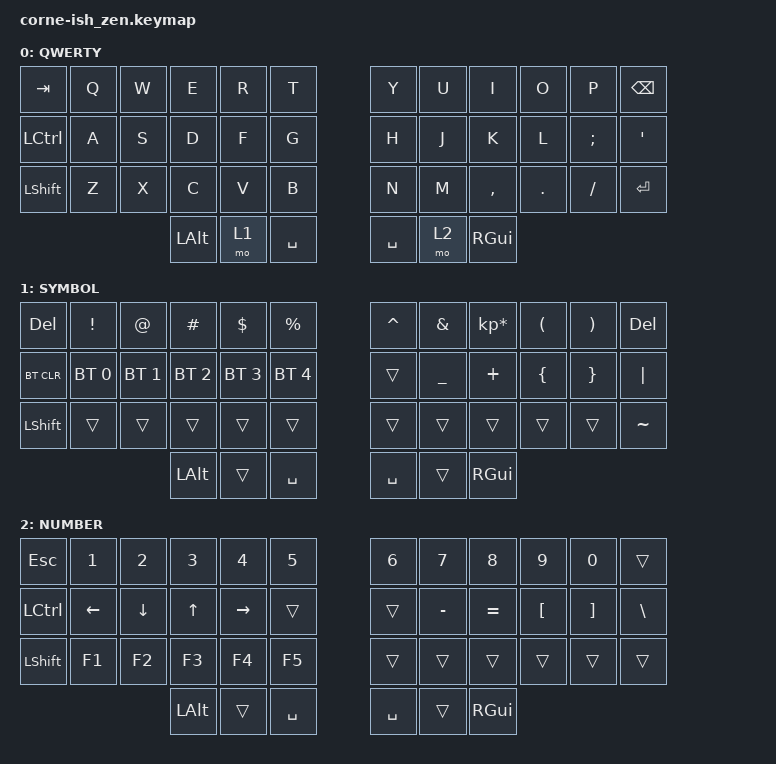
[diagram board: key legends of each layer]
/*
*
* Copyright (c) 2021 Darryl deHaan
* SPDX-License-Identifier: MIT
*
*/

#include <behaviors.dtsi>
#include <dt-bindings/zmk/keys.h>
#include <dt-bindings/zmk/bt.h>

/ {
        keymap {
                compatible = "zmk,keymap";

                default_layer {
                        label = "QWERTY";
// -----------------------------------------------------------------------------------------
// |  TAB |  Q  |  W  |  E  |  R  |  T  |   |  Y  |  U   |  I  |  O  |  P  | BKSP |
// | CTRL |  A  |  S  |  D  |  F  |  G  |   |  H  |  J   |  K  |  L  |  ;  |  '   |
// | SHFT |  Z  |  X  |  C  |  V  |  B  |   |  N  |  M   |  ,  |  .  |  /  | ESC  |
//                    | ALT | LWR | SPC |   | ENT | RSE  | GUI |
                        bindings = <
   &kp TAB   &kp Q &kp W &kp E &kp R &kp T   &kp Y &kp U  &kp I     &kp O   &kp P    &kp BSPC
   &kp LCTRL &kp A &kp S &kp D &kp F &kp G   &kp H &kp J  &kp K     &kp L   &kp SEMI &kp SQT
   &kp LSHFT &kp Z &kp X &kp C &kp V &kp B   &kp N &kp M  &kp COMMA &kp DOT &kp FSLH &kp RET
                  &kp LALT &mo 1 &kp SPACE   &kp SPACE &mo 2 &kp RGUI
                        >;
                };
                lower_layer {
                        label = "SYMBOL";
// -----------------------------------------------------------------------------------------
// | DEL  |  !  |  @  |  #  |  $  |  %  |   |  ^  |  &  |  *  |  (  |  )  | BKSP |
// | CTRL | BT1 | BT2 | BT3 | BT4 | BT5 |   |     |  _  |  +  |  {  |  }  | "|"  |
// | SHFT |     |     |     |     |     |   |     |     |     |     |     |  ~   |
//                    | ALT |     | SPC |   | SPC |     | GUI |
                        bindings = <
   &kp DEL    &kp EXCL     &kp AT       &kp HASH     &kp DLLR     &kp PRCNT    &kp CARET &kp AMPS  &kp KP_MULTIPLY &kp LPAR &kp RPAR &kp DEL
   &bt BT_CLR &bt BT_SEL 0 &bt BT_SEL 1 &bt BT_SEL 2 &bt BT_SEL 3 &bt BT_SEL 4 &trans    &kp UNDER &kp PLUS        &kp LBRC &kp RBRC &kp PIPE
   &kp LSHFT  &trans       &trans       &trans       &trans       &trans       &trans    &trans    &trans          &trans   &trans   &kp TILDE
                    	     &kp LALT &trans   &kp SPACE   &kp SPACE   &trans    &kp RGUI
                        >;
                };

                raise_layer {
                        label = "NUMBER";
// -----------------------------------------------------------------------------------------
// |  ESC |  1  |  2  |  3  |  4  |  5  |   |  6  |  7  |  8  |  9  |  0  | BKSP |
// | CTRL | LFT | DWN | UP  | RGT |     |   |     |  -  |  =  |  [  |  ]  |  \   |
// | SHFT | f1  |  f2 |  f3 |  f4 |  f5 |   |     |     |     |     |     |      |
//                    | ALT |     | SPC |   | ENT |     | GUI |
                        bindings = <
   &kp ESC    &kp N1   &kp N2   &kp N3 &kp N4    &kp N5     &kp N6   &kp N7    &kp N8    &kp N9    &kp N0   &trans
   &kp LCTRL  &kp LEFT &kp DOWN &kp UP &kp RIGHT &trans     &trans   &kp MINUS &kp EQUAL &kp LBKT  &kp RBKT &kp BSLH
   &kp LSHFT  &kp F1   &kp F2   &kp F3 &kp F4    &kp F5     &trans   &trans    &trans    &trans    &trans   &trans
                          	        &kp LALT     &trans   &kp SPACE &kp SPACE &trans &kp RGUI
                        >;
                };
        };
};
